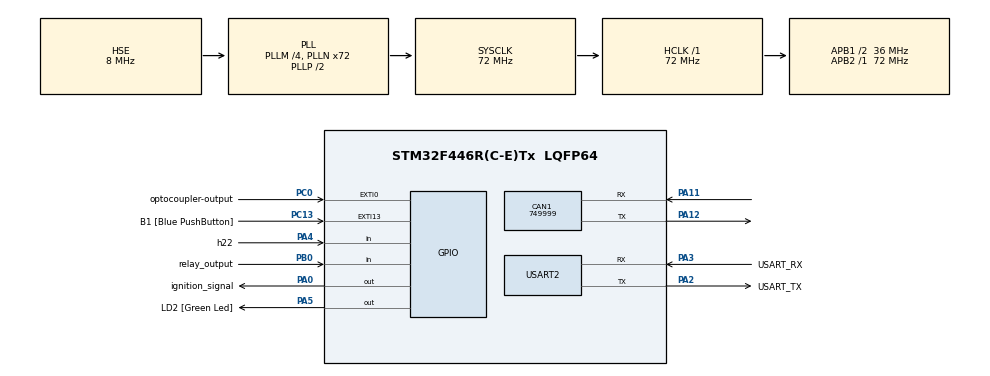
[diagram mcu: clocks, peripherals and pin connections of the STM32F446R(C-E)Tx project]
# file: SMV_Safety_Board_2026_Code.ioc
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CAN1.CalculateBaudRate=749999
CAN1.CalculateTimeBit=1333
CAN1.CalculateTimeQuantum=444.44444444444446
Mcu.Family=STM32F4
Mcu.Name=STM32F446R(C-E)Tx
Mcu.Package=LQFP64
NVIC.CAN1_RX0_IRQn=true\:0\:0\:false\:false\:true\:true\:true\:true
NVIC.CAN1_RX1_IRQn=true\:0\:0\:false\:false\:true\:true\:true\:true
NVIC.EXTI0_IRQn=true\:1\:0\:true\:false\:true\:true\:true\:true
NVIC.PriorityGroup=NVIC_PRIORITYGROUP_4
PA0-WKUP.GPIO_Label=ignition_signal
PA0-WKUP.Signal=GPIO_Output
PA11.Mode=CAN_Activate
PA11.Signal=CAN1_RX
PA12.Mode=CAN_Activate
PA12.Signal=CAN1_TX
PA13.GPIO_Label=TMS
PA13.Mode=Serial_Wire
PA13.Signal=SYS_JTMS-SWDIO
PA14.GPIO_Label=TCK
PA14.Mode=Serial_Wire
PA14.Signal=SYS_JTCK-SWCLK
PA2.GPIO_Label=USART_TX
PA2.Mode=Asynchronous
PA2.Signal=USART2_TX
PA3.GPIO_Label=USART_RX
PA3.Mode=Asynchronous
PA3.Signal=USART2_RX
PA4.GPIO_Label=h22
PA4.Signal=GPIO_Input
PA5.GPIO_Label=LD2 [Green Led]
PA5.Signal=GPIO_Output
PB0.GPIO_Label=relay_output
PB0.GPIO_PuPd=GPIO_PULLUP
PB0.Signal=GPIO_Input
PB3.GPIO_Label=SWO
PB3.Signal=SYS_JTDO-SWO
PC0.GPIO_Label=optocoupler-output
PC0.GPIO_ModeDefaultEXTI=GPIO_MODE_IT_RISING_FALLING
PC0.GPIO_PuPd=GPIO_PULLUP
PC0.Signal=GPXTI0
PC13.GPIO_Label=B1 [Blue PushButton]
PC13.GPIO_ModeDefaultEXTI=GPIO_MODE_IT_FALLING
PC13.Signal=GPXTI13
PH0-OSC_IN.Mode=HSE-External-Oscillator
PH0-OSC_IN.Signal=RCC_OSC_IN
PH1-OSC_OUT.Mode=HSE-External-Oscillator
PH1-OSC_OUT.Signal=RCC_OSC_OUT
ProjectManager.HeapSize=0x200
ProjectManager.StackSize=0x400
ProjectManager.TargetToolchain=STM32CubeIDE
RCC.48MHZClocksFreq_Value=84000000
RCC.AHBFreq_Value=72000000
RCC.APB1CLKDivider=RCC_HCLK_DIV2
RCC.APB1Freq_Value=36000000
RCC.APB1TimFreq_Value=72000000
RCC.APB2Freq_Value=72000000
RCC.APB2TimFreq_Value=72000000
RCC.CortexFreq_Value=72000000
RCC.FLatency-AdvancedSettings=FLASH_LATENCY_2
RCC.HCLKFreq_Value=72000000
RCC.HSE_VALUE=8000000
RCC.HSI_VALUE=16000000
RCC.PLLM=4
RCC.PLLN=72
RCC.PLLSourceVirtual=RCC_PLLSOURCE_HSE
RCC.SYSCLKFreq_VALUE=72000000
RCC.SYSCLKSource=RCC_SYSCLKSOURCE_PLLCLK
RCC.USBFreq_Value=72000000
RCC.VCOOutputFreq_Value=144000000
USART2.VirtualMode=VM_ASYNC
board=NUCLEO-F446RE

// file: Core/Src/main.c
/* USER CODE BEGIN Header */
/**
  ******************************************************************************
  * @file           : main.c
  * @brief          : Main program body
  ******************************************************************************
  * @attention
  *
  * Copyright (c) 2026 STMicroelectronics.
  * All rights reserved.
  *
  * This software is licensed under terms that can be found in the LICENSE file
  * in the root directory of this software component.
  * If no LICENSE file comes with this software, it is provided AS-IS.
  *
  ******************************************************************************
  */
/* USER CODE END Header */
#include "main.h"

/* USER CODE BEGIN Includes */
#include "smv_canbus.h"
#include "stdbool.h"
#include "string.h"
/* USER CODE END Includes */

CAN_HandleTypeDef hcan1;

UART_HandleTypeDef huart2;

/* USER CODE BEGIN PV */
CANBUS can1;
volatile uint8_t optocoupler_status_flag = 0;
volatile uint8_t hydrogen_status_flag = 0;
static volatile double CAN_val = 0;
static volatile int CAN_sender = 0;
static volatile int CAN_type = 0;
static char CAN_type_string [20] = {0};
/* USER CODE END PV */

void SystemClock_Config(void);
static void MX_GPIO_Init(void);
static void MX_USART2_UART_Init(void);
static void MX_CAN1_Init(void);

/* USER CODE BEGIN 0 */
void HAL_CAN_RxFifo0MsgPendingCallback(CAN_HandleTypeDef *CanHandle)

{
    /* Get RX message from FIFO0 and fill the data on the related FIFO0 user declared header
       (RxHeaderFIFO0) and table (RxDataFIFO0) */
    if (HAL_CAN_GetRxMessage(CanHandle, CAN_RX_FIFO0, &(can1.RxHeaderFIFO0), can1.RxDataFIFO0) != HAL_OK)
    {
        /* Reception Error */
       Error_Handler();
    }else{
    	CAN_Interrupt_Helper(&can1);

    	CAN_sender = can1.getHardwareRaw(&can1);
    	CAN_type = can1.getDataTypeRaw(&can1);
    	//strcpy(CAN_type_string, can1.getDataType(&can1)); //DEBUG Code
    	CAN_val = can1.getData(&can1);

    	//Motor ON/OFF from UI Board
    	if (CAN_sender == UI && CAN_type == Motor){
    		HAL_GPIO_WritePin(ignition_signal_GPIO_Port, ignition_signal_Pin, CAN_val > 0.5 ? GPIO_PIN_SET: GPIO_PIN_RESET);
    	}
    }
}

void HAL_GPIO_EXTI_Callback(uint16_t GPIO_Pin) {

	// E-STOP:
	 if (GPIO_Pin == optocoupler_output_Pin) {
		// goes low = on(status flag is 1)
		if (HAL_GPIO_ReadPin(optocoupler_output_GPIO_Port, optocoupler_output_Pin) == GPIO_PIN_SET) {
			optocoupler_status_flag = 1;
			Error_Handler();
		}
	}

}
/* USER CODE END 0 */

int main(void)
{

  /* MCU Configuration--------------------------------------------------------*/

  /* Reset of all peripherals, Initializes the Flash interface and the Systick. */
  HAL_Init();

  /* Configure the system clock */
  SystemClock_Config();

  /* Initialize all configured peripherals */
  MX_GPIO_Init();
  MX_USART2_UART_Init();
  MX_CAN1_Init();
  /* USER CODE BEGIN 2 */

  // CAN init
  can1 = CAN_new(); // construct a CAN object
  can1.init(&can1, Safety, &hcan1); // methods require pointers to self because C has no "this" pointer
  can1.addFilterDeviceData(&can1, UI, Motor);
  can1.begin(&can1);

  // Set ignition to off initially
  HAL_GPIO_WritePin(ignition_signal_GPIO_Port, ignition_signal_Pin, GPIO_PIN_RESET);
  //HAL_GPIO_WritePin(ignition_signal_GPIO_Port, ignition_signal_Pin, GPIO_PIN_SET); // dbg

  // LED blink
  const uint32_t led_blink_interval = 500;
  uint32_t last_toggle = 0;
  /* USER CODE END 2 */

  /* Infinite loop */
  /* USER CODE BEGIN WHILE */
  while (1)
  {
	  uint32_t cur_tick = HAL_GetTick();
	  if ((cur_tick - last_toggle) > led_blink_interval) {
		  last_toggle = cur_tick;
		  HAL_GPIO_TogglePin(GPIOA, LD2_Pin);
	  }

//	  if (hydrogen_status_flag) {
//		  // TODO: do something with Hydrogen_Output
//		  // (will be delayed by while loop, put in interrupt if need immediate response)
//	  }
	  if (HAL_GPIO_ReadPin(h22_GPIO_Port, h22_Pin) == GPIO_PIN_RESET) {
			hydrogen_status_flag = 1;
			Error_Handler();
		}

    /* USER CODE END WHILE */

  }
}

void SystemClock_Config(void)
{
  RCC_OscInitTypeDef RCC_OscInitStruct = {0};
  RCC_ClkInitTypeDef RCC_ClkInitStruct = {0};

  /** Configure the main internal regulator output voltage
  */
  __HAL_RCC_PWR_CLK_ENABLE();
  __HAL_PWR_VOLTAGESCALING_CONFIG(PWR_REGULATOR_VOLTAGE_SCALE3);

  /** Initializes the RCC Oscillators according to the specified parameters
  * in the RCC_OscInitTypeDef structure.
  */
  RCC_OscInitStruct.OscillatorType = RCC_OSCILLATORTYPE_HSE;
  RCC_OscInitStruct.HSEState = RCC_HSE_ON;
  RCC_OscInitStruct.PLL.PLLState = RCC_PLL_ON;
  RCC_OscInitStruct.PLL.PLLSource = RCC_PLLSOURCE_HSE;
  RCC_OscInitStruct.PLL.PLLM = 4;
  RCC_OscInitStruct.PLL.PLLN = 72;
  RCC_OscInitStruct.PLL.PLLP = RCC_PLLP_DIV2;
  RCC_OscInitStruct.PLL.PLLQ = 2;
  RCC_OscInitStruct.PLL.PLLR = 2;
  if (HAL_RCC_OscConfig(&RCC_OscInitStruct) != HAL_OK)
  {
    Error_Handler();
  }

  /** Initializes the CPU, AHB and APB buses clocks
  */
  RCC_ClkInitStruct.ClockType = RCC_CLOCKTYPE_HCLK|RCC_CLOCKTYPE_SYSCLK
                              |RCC_CLOCKTYPE_PCLK1|RCC_CLOCKTYPE_PCLK2;
  RCC_ClkInitStruct.SYSCLKSource = RCC_SYSCLKSOURCE_PLLCLK;
  RCC_ClkInitStruct.AHBCLKDivider = RCC_SYSCLK_DIV1;
  RCC_ClkInitStruct.APB1CLKDivider = RCC_HCLK_DIV2;
  RCC_ClkInitStruct.APB2CLKDivider = RCC_HCLK_DIV1;

  if (HAL_RCC_ClockConfig(&RCC_ClkInitStruct, FLASH_LATENCY_2) != HAL_OK)
  {
    Error_Handler();
  }
}

static void MX_CAN1_Init(void)
{

  hcan1.Instance = CAN1;
  hcan1.Init.Prescaler = 16;
  hcan1.Init.Mode = CAN_MODE_NORMAL;
  hcan1.Init.SyncJumpWidth = CAN_SJW_1TQ;
  hcan1.Init.TimeSeg1 = CAN_BS1_1TQ;
  hcan1.Init.TimeSeg2 = CAN_BS2_1TQ;
  hcan1.Init.TimeTriggeredMode = DISABLE;
  hcan1.Init.AutoBusOff = DISABLE;
  hcan1.Init.AutoWakeUp = DISABLE;
  hcan1.Init.AutoRetransmission = DISABLE;
  hcan1.Init.ReceiveFifoLocked = DISABLE;
  hcan1.Init.TransmitFifoPriority = DISABLE;
  if (HAL_CAN_Init(&hcan1) != HAL_OK)
  {
    Error_Handler();
  }

}

static void MX_USART2_UART_Init(void)
{

  huart2.Instance = USART2;
  huart2.Init.BaudRate = 115200;
  huart2.Init.WordLength = UART_WORDLENGTH_8B;
  huart2.Init.StopBits = UART_STOPBITS_1;
  huart2.Init.Parity = UART_PARITY_NONE;
  huart2.Init.Mode = UART_MODE_TX_RX;
  huart2.Init.HwFlowCtl = UART_HWCONTROL_NONE;
  huart2.Init.OverSampling = UART_OVERSAMPLING_16;
  if (HAL_UART_Init(&huart2) != HAL_OK)
  {
    Error_Handler();
  }

}

static void MX_GPIO_Init(void)
{
  GPIO_InitTypeDef GPIO_InitStruct = {0};

  /* GPIO Ports Clock Enable */
  __HAL_RCC_GPIOC_CLK_ENABLE();
  __HAL_RCC_GPIOH_CLK_ENABLE();
  __HAL_RCC_GPIOA_CLK_ENABLE();
  __HAL_RCC_GPIOB_CLK_ENABLE();

  /*Configure GPIO pin Output Level */
  HAL_GPIO_WritePin(GPIOA, ignition_signal_Pin|LD2_Pin, GPIO_PIN_RESET);

  /*Configure GPIO pin : B1_Pin */
  GPIO_InitStruct.Pin = B1_Pin;
  GPIO_InitStruct.Mode = GPIO_MODE_IT_FALLING;
  GPIO_InitStruct.Pull = GPIO_NOPULL;
  HAL_GPIO_Init(B1_GPIO_Port, &GPIO_InitStruct);

  /*Configure GPIO pin : optocoupler_output_Pin */
  GPIO_InitStruct.Pin = optocoupler_output_Pin;
  GPIO_InitStruct.Mode = GPIO_MODE_IT_RISING_FALLING;
  GPIO_InitStruct.Pull = GPIO_PULLUP;
  HAL_GPIO_Init(optocoupler_output_GPIO_Port, &GPIO_InitStruct);

  /*Configure GPIO pins : ignition_signal_Pin LD2_Pin */
  GPIO_InitStruct.Pin = ignition_signal_Pin|LD2_Pin;
  GPIO_InitStruct.Mode = GPIO_MODE_OUTPUT_PP;
  GPIO_InitStruct.Pull = GPIO_NOPULL;
  GPIO_InitStruct.Speed = GPIO_SPEED_FREQ_LOW;
  HAL_GPIO_Init(GPIOA, &GPIO_InitStruct);

  /*Configure GPIO pin : h22_Pin */
  GPIO_InitStruct.Pin = h22_Pin;
  GPIO_InitStruct.Mode = GPIO_MODE_INPUT;
  GPIO_InitStruct.Pull = GPIO_NOPULL;
  HAL_GPIO_Init(h22_GPIO_Port, &GPIO_InitStruct);

  /*Configure GPIO pin : relay_output_Pin */
  GPIO_InitStruct.Pin = relay_output_Pin;
  GPIO_InitStruct.Mode = GPIO_MODE_INPUT;
  GPIO_InitStruct.Pull = GPIO_PULLUP;
  HAL_GPIO_Init(relay_output_GPIO_Port, &GPIO_InitStruct);

  /* EXTI interrupt init*/
  HAL_NVIC_SetPriority(EXTI0_IRQn, 1, 0);
  HAL_NVIC_EnableIRQ(EXTI0_IRQn);

}

void Error_Handler(void)
{
  /* USER CODE BEGIN Error_Handler_Debug */
  /* User can add his own implementation to report the HAL error return state */
  __disable_irq();
  HAL_GPIO_WritePin(ignition_signal_GPIO_Port, ignition_signal_Pin, GPIO_PIN_RESET);
  while (1)
  {

  }
  /* USER CODE END Error_Handler_Debug */
}
